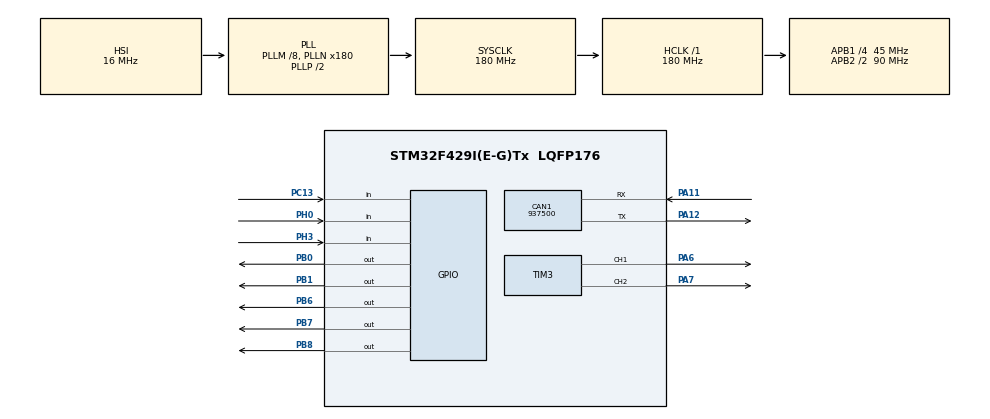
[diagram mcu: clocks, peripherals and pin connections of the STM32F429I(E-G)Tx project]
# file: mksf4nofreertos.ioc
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CAN1.CalculateBaudRate=937500
CAN1.CalculateTimeBit=1066
CAN1.CalculateTimeQuantum=355.55555555555554
Mcu.Family=STM32F4
Mcu.Name=STM32F429I(E-G)Tx
Mcu.Package=LQFP176
NVIC.PriorityGroup=NVIC_PRIORITYGROUP_4
PA11.Mode=CAN_Activate
PA11.Signal=CAN1_RX
PA12.Mode=CAN_Activate
PA12.Signal=CAN1_TX
PA6.Signal=S_TIM3_CH1
PA7.Signal=S_TIM3_CH2
PB0.Signal=GPIO_Output
PB1.Signal=GPIO_Output
PB6.Signal=GPIO_Output
PB7.Signal=GPIO_Output
PB8.Signal=GPIO_Output
PC13.Signal=GPIO_Input
PH0/OSC_IN.Signal=GPIO_Input
PH3.Signal=GPIO_Input
ProjectManager.HeapSize=0x200
ProjectManager.StackSize=0x400
ProjectManager.TargetToolchain=MDK-ARM V5.32
RCC.48MHZClocksFreq_Value=90000000
RCC.AHBFreq_Value=180000000
RCC.APB1CLKDivider=RCC_HCLK_DIV4
RCC.APB1Freq_Value=45000000
RCC.APB1TimFreq_Value=90000000
RCC.APB2CLKDivider=RCC_HCLK_DIV2
RCC.APB2Freq_Value=90000000
RCC.APB2TimFreq_Value=180000000
RCC.CortexFreq_Value=180000000
RCC.HCLKFreq_Value=180000000
RCC.HSE_VALUE=25000000
RCC.HSI_VALUE=16000000
RCC.LSE_VALUE=32768
RCC.PLLM=8
RCC.PLLN=180
RCC.SYSCLKFreq_VALUE=180000000
RCC.SYSCLKSource=RCC_SYSCLKSOURCE_PLLCLK
RCC.VCOOutputFreq_Value=360000000
SH.S_TIM3_CH1.0=TIM3_CH1,PWM Generation1 CH1
SH.S_TIM3_CH2.0=TIM3_CH2,PWM Generation2 CH2
TIM3.Channel-PWM\ Generation1\ CH1=TIM_CHANNEL_1
TIM3.Channel-PWM\ Generation2\ CH2=TIM_CHANNEL_2
VP_TIM3_VS_ClockSourceINT.Mode=Internal
board=custom

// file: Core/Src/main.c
/* USER CODE BEGIN Header */
/**
  ******************************************************************************
  * @file           : main.c
  * @brief          : Main program body
  ******************************************************************************
  * @attention
  *
  * Copyright (c) 2026 STMicroelectronics.
  * All rights reserved.
  *
  * This software is licensed under terms that can be found in the LICENSE file
  * in the root directory of this software component.
  * If no LICENSE file comes with this software, it is provided AS-IS.
  *
  ******************************************************************************
  */
/* USER CODE END Header */
#include "main.h"

/* USER CODE BEGIN Includes */
#include "mks.h"
#include "can.h"
#include "led.h"
#include "key.h"
#include "hmoto.h"

/* USER CODE END Includes */

/* USER CODE BEGIN PD */
uint16_t runSpeed= 400;    //电机运行速度
uint8_t motor_id  = 1;      //电机canid
uint8_t runDir  = 0;      //电机运行方向 1为逆时针 0为顺时针
uint8_t ackStatus = 0;
uint8_t key_pressed = 0; //按键状态

// const int32_t *g_motor_pos_ptr = NULL;   // 全局指针
// int32_t g_motor_pos_value = 0;            // 全局值
/* USER CODE END PD */

CAN_HandleTypeDef hcan1;

TIM_HandleTypeDef htim3;

void SystemClock_Config(void);
static void MX_GPIO_Init(void);
static void MX_CAN1_Init(void);
static void MX_TIM3_Init(void);

int main(void)
{

  /* MCU Configuration--------------------------------------------------------*/

  /* Reset of all peripherals, Initializes the Flash interface and the Systick. */
  HAL_Init();

  /* Configure the system clock */
  SystemClock_Config();

  /* Initialize all configured peripherals */
  MX_GPIO_Init();
  MX_CAN1_Init();
  MX_TIM3_Init();
	led_init();
  /* USER CODE BEGIN 2 */
  can_filter_init();
  key_init();
  hmoto_Init();
  // mksPulseInit();			//初始化脉冲接口
	// mksPulseRun();			//开始生成脉冲信号
  // setMotorMode(1,);//修改电机控制模式

  setMotorEnable(1,1);//电机使能
  // setMotorEnable(2,1);//电机使能

  s_state = ST_IDLE;

  /* USER CODE END 2 */

  /* Infinite loop */
  /* USER CODE BEGIN WHILE */
  while (1)
    {
      HAL_Delay(100);
      // speedModeRun(1,runDir,runSpeed,2); //从机地址=1，加速度=2
      // positionMode1Run(1,runDir,100,200,32000); //从机地址=1，转速=100RPM，加速度=200，脉冲数=32000(10圈)
      // speedtimemode();//多机时控测试
      // Telescopic_Handler(motor_id, runSpeed);
      HAL_Delay(50);
      key_pressed = key_scan(0);
      Motor_Process();

      // MotorPower_Set(3600);

      if (key_pressed != 0) {
        // Telescopic_Start(key_pressed);  /* 触发一次伸缩 */
        //MotorA_Forward
        //MotorA_Backward
        // MotorA_Backward(900);
        Motor_Set(7200);
        HAL_Delay(280);
      }

    // ackStatus = waitingForACK();   //等待电机应答
		// if(ackStatus == 1)        //运行成功
		// {
		// 	runSpeed += 100;        //速度增加100RPM
		// 	if(runSpeed > 300)     //改变速度和方向
		// 	{
		// 		runSpeed = 0;         //速度设置为0
		// 		runDir ^= 1;          //改变方向
		// 	}
		// }
		// else                      //运行失败
		// {
		// 	runFail();
		// }
    /* USER CODE END WHILE */

    }
}

//运行失败
void runFail(void)
{
			while(1)                //快速闪灯，提示运行失败
			{
				LED0(0);
				HAL_Delay(200);
				LED0(1);
				HAL_Delay(200);
			}
}

void SystemClock_Config(void)
{
  RCC_OscInitTypeDef RCC_OscInitStruct = {0};
  RCC_ClkInitTypeDef RCC_ClkInitStruct = {0};

  /** Configure the main internal regulator output voltage
  */
  __HAL_RCC_PWR_CLK_ENABLE();
  __HAL_PWR_VOLTAGESCALING_CONFIG(PWR_REGULATOR_VOLTAGE_SCALE1);

  /** Initializes the RCC Oscillators according to the specified parameters
  * in the RCC_OscInitTypeDef structure.
  */
  RCC_OscInitStruct.OscillatorType = RCC_OSCILLATORTYPE_HSI;
  RCC_OscInitStruct.HSIState = RCC_HSI_ON;
  RCC_OscInitStruct.HSICalibrationValue = RCC_HSICALIBRATION_DEFAULT;
  RCC_OscInitStruct.PLL.PLLState = RCC_PLL_ON;
  RCC_OscInitStruct.PLL.PLLSource = RCC_PLLSOURCE_HSI;
  RCC_OscInitStruct.PLL.PLLM = 8;
  RCC_OscInitStruct.PLL.PLLN = 180;
  RCC_OscInitStruct.PLL.PLLP = RCC_PLLP_DIV2;
  RCC_OscInitStruct.PLL.PLLQ = 4;
  if (HAL_RCC_OscConfig(&RCC_OscInitStruct) != HAL_OK)
  {
    Error_Handler();
  }

  /** Activate the Over-Drive mode
  */
  if (HAL_PWREx_EnableOverDrive() != HAL_OK)
  {
    Error_Handler();
  }

  /** Initializes the CPU, AHB and APB buses clocks
  */
  RCC_ClkInitStruct.ClockType = RCC_CLOCKTYPE_HCLK|RCC_CLOCKTYPE_SYSCLK
                              |RCC_CLOCKTYPE_PCLK1|RCC_CLOCKTYPE_PCLK2;
  RCC_ClkInitStruct.SYSCLKSource = RCC_SYSCLKSOURCE_PLLCLK;
  RCC_ClkInitStruct.AHBCLKDivider = RCC_SYSCLK_DIV1;
  RCC_ClkInitStruct.APB1CLKDivider = RCC_HCLK_DIV4;
  RCC_ClkInitStruct.APB2CLKDivider = RCC_HCLK_DIV2;

  if (HAL_RCC_ClockConfig(&RCC_ClkInitStruct, FLASH_LATENCY_5) != HAL_OK)
  {
    Error_Handler();
  }
}

static void MX_CAN1_Init(void)
{

  hcan1.Instance = CAN1;
  hcan1.Init.Prescaler = 6;
  hcan1.Init.Mode = CAN_MODE_NORMAL;
  hcan1.Init.SyncJumpWidth = CAN_SJW_1TQ;
  hcan1.Init.TimeSeg1 = CAN_BS1_12TQ;   // ← 改这里
  hcan1.Init.TimeSeg2 = CAN_BS2_2TQ;    // ← 改这里
  hcan1.Init.TimeTriggeredMode = DISABLE;
  hcan1.Init.AutoBusOff = ENABLE;
  hcan1.Init.AutoWakeUp = DISABLE;
  hcan1.Init.AutoRetransmission = ENABLE;
  hcan1.Init.ReceiveFifoLocked = DISABLE;
  hcan1.Init.TransmitFifoPriority = DISABLE;
  if (HAL_CAN_Init(&hcan1) != HAL_OK)
  {
    Error_Handler();
  }

}

static void MX_TIM3_Init(void)
{
    TIM_ClockConfigTypeDef sClockSourceConfig = {0};
    TIM_MasterConfigTypeDef sMasterConfig = {0};
    TIM_OC_InitTypeDef sConfigOC = {0};

    /* 时基配置：90MHz / 7200 = 12.5kHz */
    htim3.Instance               = TIM3;
    htim3.Init.Prescaler         = 0;                           // 90 MHz 不分频
    htim3.Init.CounterMode       = TIM_COUNTERMODE_UP;            // 向上计数
    htim3.Init.Period            = 7199;                        // 0~7199 共 7200 级
    htim3.Init.ClockDivision     = TIM_CLOCKDIVISION_DIV1;
    htim3.Init.AutoReloadPreload = TIM_AUTORELOAD_PRELOAD_ENABLE; // 修改 ARR 时无毛刺

    if (HAL_TIM_Base_Init(&htim3) != HAL_OK)
    {
        Error_Handler();
    }

    /* 时钟源：内部时钟 */
    sClockSourceConfig.ClockSource = TIM_CLOCKSOURCE_INTERNAL;
    if (HAL_TIM_ConfigClockSource(&htim3, &sClockSourceConfig) != HAL_OK)
    {
        Error_Handler();
    }

    /* 初始化 PWM 功能 */
    if (HAL_TIM_PWM_Init(&htim3) != HAL_OK)
    {
        Error_Handler();
    }

    /* 主模式：独立运行，不触发其他外设 */
    sMasterConfig.MasterOutputTrigger = TIM_TRGO_RESET;
    sMasterConfig.MasterSlaveMode   = TIM_MASTERSLAVEMODE_DISABLE;
    if (HAL_TIMEx_MasterConfigSynchronization(&htim3, &sMasterConfig) != HAL_OK)
    {
        Error_Handler();
    }

    /* PWM 通道配置：仅保留 CH2（PB5） */
    sConfigOC.OCMode       = TIM_OCMODE_PWM1;
    sConfigOC.Pulse        = 0;                      // 初始占空比 0
    sConfigOC.OCPolarity   = TIM_OCPOLARITY_HIGH;    // 高电平有效
    sConfigOC.OCFastMode   = TIM_OCFAST_DISABLE;

    if (HAL_TIM_PWM_ConfigChannel(&htim3, &sConfigOC, TIM_CHANNEL_2) != HAL_OK)
    {
        Error_Handler();
    }

    /* 启动 GPIO 复用配置 */
    HAL_TIM_MspPostInit(&htim3);
}

static void MX_GPIO_Init(void)
{
  GPIO_InitTypeDef GPIO_InitStruct = {0};

  /* GPIO Ports Clock Enable */
  __HAL_RCC_GPIOC_CLK_ENABLE();
  __HAL_RCC_GPIOH_CLK_ENABLE();
  __HAL_RCC_GPIOA_CLK_ENABLE();
  __HAL_RCC_GPIOB_CLK_ENABLE();

  /*Configure GPIO pin Output Level */
  HAL_GPIO_WritePin(GPIOB, GPIO_PIN_0|GPIO_PIN_1|GPIO_PIN_6|GPIO_PIN_7
                          |GPIO_PIN_8, GPIO_PIN_RESET);

  /*Configure GPIO pin : PC13 */
  GPIO_InitStruct.Pin = GPIO_PIN_13;
  GPIO_InitStruct.Mode = GPIO_MODE_INPUT;
  GPIO_InitStruct.Pull = GPIO_NOPULL;
  HAL_GPIO_Init(GPIOC, &GPIO_InitStruct);

  /*Configure GPIO pins : PH0 PH3 */
  GPIO_InitStruct.Pin = GPIO_PIN_0|GPIO_PIN_3;
  GPIO_InitStruct.Mode = GPIO_MODE_INPUT;
  GPIO_InitStruct.Pull = GPIO_NOPULL;
  HAL_GPIO_Init(GPIOH, &GPIO_InitStruct);

  /*Configure GPIO pins : PB0 PB1 PB6 PB7
                           PB8 */
  GPIO_InitStruct.Pin = GPIO_PIN_0|GPIO_PIN_1|GPIO_PIN_6|GPIO_PIN_7
                          |GPIO_PIN_8;
  GPIO_InitStruct.Mode = GPIO_MODE_OUTPUT_PP;
  GPIO_InitStruct.Pull = GPIO_NOPULL;
  GPIO_InitStruct.Speed = GPIO_SPEED_FREQ_LOW;
  HAL_GPIO_Init(GPIOB, &GPIO_InitStruct);

}

void Error_Handler(void)
{
  __disable_irq();
  while (1)
  {
  }
}
